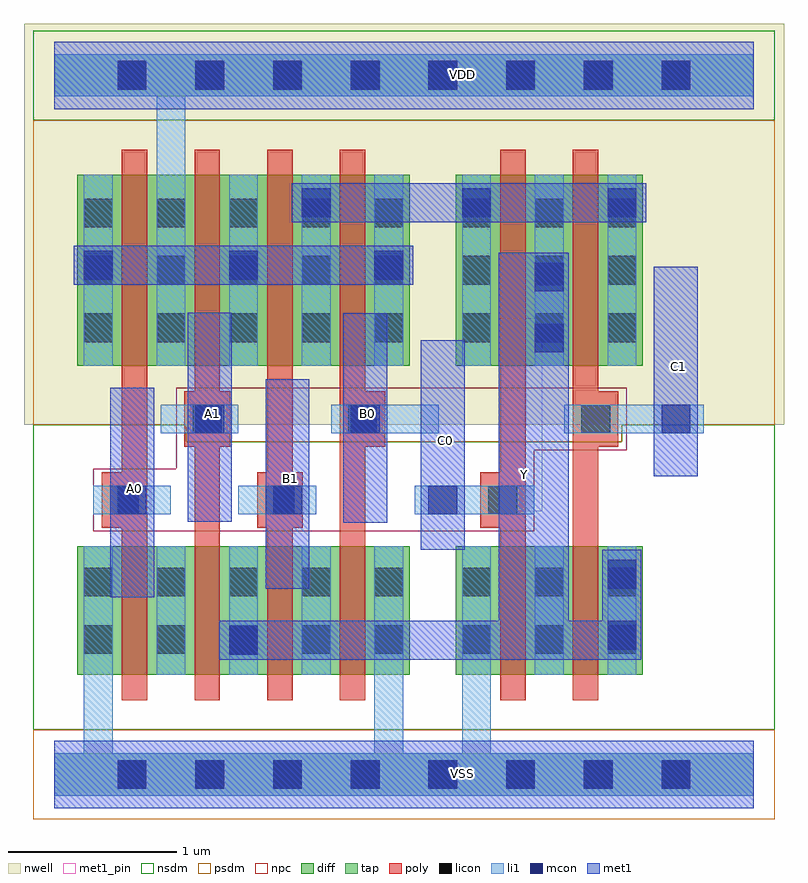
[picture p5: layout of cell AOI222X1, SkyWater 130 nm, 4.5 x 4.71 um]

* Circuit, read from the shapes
.subckt AOI222X1 A0 A1 B0 B1 C0 C1 VDD VSS Y
XM1 n1 A0 VSS VSS sky130_fd_pr__nfet_01v8 w=0.76 l=0.15
XM2 Y A1 n1 VSS sky130_fd_pr__nfet_01v8 w=0.76 l=0.15
XM3 n2 B1 Y VSS sky130_fd_pr__nfet_01v8 w=0.76 l=0.15
XM4 VSS B0 n2 VSS sky130_fd_pr__nfet_01v8 w=0.76 l=0.15
XM5 n3 C0 VSS VSS sky130_fd_pr__nfet_01v8 w=0.76 l=0.15
XM6 Y C1 n3 VSS sky130_fd_pr__nfet_01v8 w=0.76 l=0.15
XM7 VDD A0 n4 VDD sky130_fd_pr__pfet_01v8 w=1.13 l=0.15
XM8 n4 A1 VDD VDD sky130_fd_pr__pfet_01v8 w=1.13 l=0.15
XM9 n5 B1 n4 VDD sky130_fd_pr__pfet_01v8 w=1.13 l=0.15
XM10 n4 B0 n5 VDD sky130_fd_pr__pfet_01v8 w=1.13 l=0.15
XM11 Y C0 n5 VDD sky130_fd_pr__pfet_01v8 w=1.13 l=0.15
XM12 n5 C1 Y VDD sky130_fd_pr__pfet_01v8 w=1.13 l=0.15
.ends

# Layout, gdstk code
from math import pi, radians
import gdstk
lib = gdstk.Library(unit=1e-6, precision=1e-09)
def R(c, l, rs):  # rectangles x0, y0, x1, y1
    for r in rs: c.add(gdstk.rectangle(r[:2], r[2:], *l))
def A(c, l, x, y, w, h, nx, ny, dx, dy):  # array of equal rectangles
    R(c, l, [(x+i*dx, y+j*dy, x+i*dx+w, y+j*dy+h) for i in range(nx) for j in range(ny)])
def P(c, l, *ps):  # polygons
    for p in ps: c.add(gdstk.Polygon(p, *l))
nwell = (64, 20)
diff = (65, 20)
tap = (65, 44)
poly = (66, 20)
licon = (66, 44)
li1 = (67, 20)
mcon = (67, 44)
met1_pin = (68, 16)
met1 = (68, 20)
nsdm = (93, 44)
psdm = (94, 20)
npc = (95, 20)

nfet_01v8_cdns_716492285 = lib.new_cell('nfet_01v8_CDNS_71649228522221')
R(nfet_01v8_cdns_716492285, diff, [(-0.265,0,0,0.76), (0,0,0.15,0.76), (0.15,0,0.205,0.76)])
R(nfet_01v8_cdns_716492285, poly, [(0,-0.15,0.15,-0.095), (0,-0.095,0.15,0), (0,0,0.15,0.76), (0,0.76,0.15,0.855), (0,0.855,0.15,0.91)])
R(nfet_01v8_cdns_716492285, licon, [(-0.225,0.125,-0.055,0.295), (-0.225,0.465,-0.055,0.635)])
R(nfet_01v8_cdns_716492285, li1, [(-0.225,0,-0.055,0.76)])
R(nfet_01v8_cdns_716492285, nsdm, [(-0.405,-0.13,0.215,0.89)])

pfet_01v8_cdns_716492285 = lib.new_cell('pfet_01v8_CDNS_71649228522144')
R(pfet_01v8_cdns_716492285, nwell, [(-0.405,-0.18,0.385,1.31)])
R(pfet_01v8_cdns_716492285, diff, [(-0.225,0,0,1.13), (0,0,0.15,1.13), (0.15,0,0.205,1.13)])
R(pfet_01v8_cdns_716492285, poly, [(0,-0.15,0.15,-0.095), (0,-0.095,0.15,0), (0,0,0.15,1.13), (0,1.13,0.15,1.225), (0,1.225,0.15,1.28)])
A(pfet_01v8_cdns_716492285, licon, -0.225, 0.14, 0.17, 0.17, 1, 3, 0, 0.34)
R(pfet_01v8_cdns_716492285, li1, [(-0.225,0,-0.055,1.13)])
R(pfet_01v8_cdns_716492285, psdm, [(-0.235,-0.13,0.215,1.26)])

c_pfet_01v8_cdns_716492285 = lib.new_cell('pfet_01v8_CDNS_71649228522145')
R(c_pfet_01v8_cdns_716492285, nwell, [(-0.445,-0.18,0.385,1.31)])
R(c_pfet_01v8_cdns_716492285, diff, [(-0.265,0,0,1.13), (0,0,0.15,1.13), (0.15,0,0.205,1.13)])
R(c_pfet_01v8_cdns_716492285, poly, [(0,-0.15,0.15,-0.095), (0,-0.095,0.15,0), (0,0,0.15,1.13), (0,1.13,0.15,1.225), (0,1.225,0.15,1.28)])
A(c_pfet_01v8_cdns_716492285, licon, -0.225, 0.14, 0.17, 0.17, 1, 3, 0, 0.34)
R(c_pfet_01v8_cdns_716492285, li1, [(-0.225,0,-0.055,1.13)])
R(c_pfet_01v8_cdns_716492285, psdm, [(-0.405,-0.13,0.215,1.26)])

c_pfet_01v8_cdns_716492285_ = lib.new_cell('pfet_01v8_CDNS_71649228522223')
R(c_pfet_01v8_cdns_716492285_, nwell, [(-0.405,-0.18,0.385,1.31)])
R(c_pfet_01v8_cdns_716492285_, diff, [(-0.225,0,0,1.13), (0,0,0.15,1.13), (0.15,0,0.205,1.13)])
R(c_pfet_01v8_cdns_716492285_, poly, [(0,-0.15,0.15,-0.095), (0,-0.095,0.15,0), (0,0,0.15,1.13), (0,1.13,0.15,1.225), (0,1.225,0.15,1.28)])
A(c_pfet_01v8_cdns_716492285_, licon, -0.225, 0.14, 0.17, 0.17, 1, 3, 0, 0.34)
R(c_pfet_01v8_cdns_716492285_, li1, [(-0.225,0,-0.055,1.13)])
R(c_pfet_01v8_cdns_716492285_, psdm, [(-0.235,-0.13,0.215,1.26)])

c_pfet_01v8_cdns_716492285__ = lib.new_cell('pfet_01v8_CDNS_7164922852274')
R(c_pfet_01v8_cdns_716492285__, nwell, [(-0.445,-0.18,0.555,1.31)])
R(c_pfet_01v8_cdns_716492285__, diff, [(-0.265,0,0,1.13), (0,0,0.15,1.13), (0.15,0,0.375,1.13)])
R(c_pfet_01v8_cdns_716492285__, poly, [(0,-0.15,0.15,-0.095), (0,-0.095,0.15,0), (0,0,0.15,1.13), (0,1.13,0.15,1.225), (0,1.225,0.15,1.28)])
A(c_pfet_01v8_cdns_716492285__, licon, -0.225, 0.14, 0.17, 0.17, 1, 3, 0, 0.34)
A(c_pfet_01v8_cdns_716492285__, licon, 0.205, 0.14, 0.17, 0.17, 1, 3, 0, 0.34)
R(c_pfet_01v8_cdns_716492285__, li1, [(-0.225,0,-0.055,1.13), (0.205,0,0.375,1.13)])
R(c_pfet_01v8_cdns_716492285__, psdm, [(-0.405,-0.13,0.385,1.26)])

c_pfet_01v8_cdns_716492285___ = lib.new_cell('pfet_01v8_CDNS_716492285224')
R(c_pfet_01v8_cdns_716492285___, nwell, [(-0.235,-0.18,0.595,1.31)])
R(c_pfet_01v8_cdns_716492285___, diff, [(-0.055,0,0,1.13), (0,0,0.15,1.13), (0.15,0,0.415,1.13)])
R(c_pfet_01v8_cdns_716492285___, poly, [(0,-0.15,0.15,-0.095), (0,-0.095,0.15,0), (0,0,0.15,1.13), (0,1.13,0.15,1.225), (0,1.225,0.15,1.28)])
A(c_pfet_01v8_cdns_716492285___, licon, 0.205, 0.14, 0.17, 0.17, 1, 3, 0, 0.34)
R(c_pfet_01v8_cdns_716492285___, li1, [(0.205,0,0.375,1.13)])
R(c_pfet_01v8_cdns_716492285___, psdm, [(-0.065,-0.13,0.555,1.26)])

c_nfet_01v8_cdns_716492285 = lib.new_cell('nfet_01v8_CDNS_71649228522165')
R(c_nfet_01v8_cdns_716492285, diff, [(-0.265,0,0,0.76), (0,0,0.15,0.76), (0.15,0,0.375,0.76)])
R(c_nfet_01v8_cdns_716492285, poly, [(0,-0.15,0.15,-0.095), (0,-0.095,0.15,0), (0,0,0.15,0.76), (0,0.76,0.15,0.855), (0,0.855,0.15,0.91)])
R(c_nfet_01v8_cdns_716492285, licon, [(-0.225,0.125,-0.055,0.295), (-0.225,0.465,-0.055,0.635)])
R(c_nfet_01v8_cdns_716492285, li1, [(-0.225,0,-0.055,0.76)])
R(c_nfet_01v8_cdns_716492285, nsdm, [(-0.405,-0.13,0.385,0.89)])

c_nfet_01v8_cdns_716492285_ = lib.new_cell('nfet_01v8_CDNS_71649228522127')
R(c_nfet_01v8_cdns_716492285_, diff, [(-0.055,0,0,0.76), (0,0,0.15,0.76), (0.15,0,0.375,0.76)])
R(c_nfet_01v8_cdns_716492285_, poly, [(0,-0.15,0.15,-0.095), (0,-0.095,0.15,0), (0,0,0.15,0.76), (0,0.76,0.15,0.855), (0,0.855,0.15,0.91)])
R(c_nfet_01v8_cdns_716492285_, licon, [(0.205,0.125,0.375,0.295), (0.205,0.465,0.375,0.635)])
R(c_nfet_01v8_cdns_716492285_, li1, [(0.205,0,0.375,0.76)])
R(c_nfet_01v8_cdns_716492285_, nsdm, [(-0.065,-0.13,0.385,0.89)])

c_nfet_01v8_cdns_716492285__ = lib.new_cell('nfet_01v8_CDNS_71649228522220')
R(c_nfet_01v8_cdns_716492285__, diff, [(-0.225,0,0,0.76), (0,0,0.15,0.76), (0.15,0,0.205,0.76)])
R(c_nfet_01v8_cdns_716492285__, poly, [(0,-0.15,0.15,-0.095), (0,-0.095,0.15,0), (0,0,0.15,0.76), (0,0.76,0.15,0.855), (0,0.855,0.15,0.91)])
R(c_nfet_01v8_cdns_716492285__, nsdm, [(-0.235,-0.13,0.215,0.89)])

c_nfet_01v8_cdns_716492285___ = lib.new_cell('nfet_01v8_CDNS_71649228522224')
R(c_nfet_01v8_cdns_716492285___, diff, [(-0.225,0,0,0.76), (0,0,0.15,0.76), (0.15,0,0.415,0.76)])
R(c_nfet_01v8_cdns_716492285___, poly, [(0,-0.15,0.15,-0.095), (0,-0.095,0.15,0), (0,0,0.15,0.76), (0,0.76,0.15,0.855), (0,0.855,0.15,0.91)])
R(c_nfet_01v8_cdns_716492285___, licon, [(0.205,0.125,0.375,0.295), (0.205,0.465,0.375,0.635)])
R(c_nfet_01v8_cdns_716492285___, li1, [(0.205,0,0.375,0.76)])
R(c_nfet_01v8_cdns_716492285___, nsdm, [(-0.235,-0.13,0.555,0.89)])

l1m1_c_cdns_716492285225 = lib.new_cell('L1M1_C_CDNS_716492285225')
R(l1m1_c_cdns_716492285225, li1, [(-0.085,-0.345,0.085,0.345)])
R(l1m1_c_cdns_716492285225, mcon, [(-0.085,-0.265,0.085,-0.095), (-0.085,0.095,0.085,0.265)])
R(l1m1_c_cdns_716492285225, met1, [(-0.115,-0.325,0.115,0.325)])

l1m1_c_cdns_716492285226 = lib.new_cell('L1M1_C_CDNS_716492285226')
R(l1m1_c_cdns_716492285226, li1, [(-0.085,-0.165,0.085,0.165)])
R(l1m1_c_cdns_716492285226, mcon, [(-0.085,-0.085,0.085,0.085)])
R(l1m1_c_cdns_716492285226, met1, [(-0.145,-0.115,0.145,0.115)])

pyl1con_c_cdns_716492285 = lib.new_cell('PYL1CON_C_CDNS_716492285220')
R(pyl1con_c_cdns_716492285, poly, [(-0.135,-0.165,0.135,0.165)])
R(pyl1con_c_cdns_716492285, licon, [(-0.085,-0.085,0.085,0.085)])
R(pyl1con_c_cdns_716492285, npc, [(-0.185,-0.185,0.185,0.185)])

l1m1_c_cdns_716492285223 = lib.new_cell('L1M1_C_CDNS_716492285223')
R(l1m1_c_cdns_716492285223, li1, [(-0.165,-0.085,0.165,0.085)])
R(l1m1_c_cdns_716492285223, mcon, [(-0.085,-0.085,0.085,0.085)])
R(l1m1_c_cdns_716492285223, met1, [(-0.115,-0.145,0.115,0.145)])

l1m1_c_cdns_716492285224 = lib.new_cell('L1M1_C_CDNS_7164922852240')
R(l1m1_c_cdns_716492285224, li1, [(-0.085,-0.165,0.085,0.165)])
R(l1m1_c_cdns_716492285224, mcon, [(-0.085,-0.085,0.085,0.085)])
R(l1m1_c_cdns_716492285224, met1, [(-0.115,-0.085,0.115,0.085)])

aoi222x1 = lib.new_cell('AOI222X1')
R(aoi222x1, nwell, [(-0.18,2.07,4.32,4.305), (-0.18,3.875,4.32,4.445)])
A(aoi222x1, licon, 0.375, -0.085, 0.17, 0.17, 8, 2, 0.46, 4.14)
R(aoi222x1, licon, [(0.605,0.715,0.775,0.885), (1.465,0.715,1.635,0.885), (2.845,0.715,3.015,0.885), (0.605,1.055,0.775,1.225), (1.465,1.055,1.635,1.225), (2.845,1.055,3.015,1.225)])
R(aoi222x1, li1, [(0.605,0.59,0.775,1.35), (1.465,0.59,1.635,1.35), (2.845,0.59,3.015,1.35)])
A(aoi222x1, mcon, 0.375, -0.085, 0.17, 0.17, 8, 2, 0.46, 4.14)
R(aoi222x1, met1_pin, [(0.33,1.05,0.59,2.29), (1.25,1.1,1.51,2.34), (2.17,1.33,2.43,2.57), (1.71,1.49,1.97,2.73), (0.79,1.495,1.05,2.735), (2.63,1.56,2.89,2.7), (3.55,1.765,3.81,3.005)])
R(aoi222x1, met1, [(2.63,0.68,3.045,3.09)])
R(aoi222x1, nsdm, [(-0.125,3.875,4.265,4.405), (-0.125,3.93,4.265,4.35)])
P(aoi222x1, nsdm, [(4.265,2.07),(3.36,2.07),(3.36,1.97),(0.78,1.97),(0.78,2.07),(-0.125,2.07),(-0.125,0.265),(4.265,0.265)])
R(aoi222x1, psdm, [(-0.125,-0.265,4.265,0.265), (-0.125,-0.21,4.265,0.21)])
P(aoi222x1, psdm, [(4.265,3.875),(-0.125,3.875),(-0.125,2.07),(0.78,2.07),(0.78,1.97),(3.36,1.97),(3.36,2.07),(4.265,2.07)])
P(aoi222x1, npc, [(3.39,2.29),(0.72,2.29),(0.72,1.81),(0.23,1.81),(0.23,1.44),(2.84,1.44),(2.84,1.92),(3.39,1.92)])
aoi222x1.add(gdstk.FlexPath([(0.69,0),(2.47,0)], 0.25, ends=(0.085, 0.085), simple_path=True, layer=67, datatype=20))  # li1
aoi222x1.add(gdstk.FlexPath([(4.055,0),(4.14,0)], 0.25, ends=(0.085, 0), simple_path=True, layer=67, datatype=20))  # li1
aoi222x1.add(gdstk.FlexPath([(3.42,0),(4.055,0)], 0.25, ends=(0.085, 0.085), simple_path=True, layer=67, datatype=20))  # li1
aoi222x1.add(gdstk.FlexPath([(0,0),(0.69,0)], 0.25, ends=(0, 0.085), simple_path=True, layer=67, datatype=20))  # li1
aoi222x1.add(gdstk.FlexPath([(2.47,0),(3.42,0)], 0.25, ends=(0.085, 0.085), simple_path=True, layer=67, datatype=20))  # li1
aoi222x1.add(gdstk.FlexPath([(1.98,0.59),(1.98,0.005)], 0.17, ends="flush", simple_path=True, layer=67, datatype=20))  # li1
aoi222x1.add(gdstk.FlexPath([(0.26,0.59),(0.26,0.015)], 0.17, ends="flush", simple_path=True, layer=67, datatype=20))  # li1
aoi222x1.add(gdstk.FlexPath([(3.68,2.105),(3.48,2.105)], 0.17, ends="flush", simple_path=True, layer=67, datatype=20))  # li1
aoi222x1.add(gdstk.FlexPath([(3.48,2.105),(3.02,2.105)], 0.17, ends="flush", simple_path=True, layer=67, datatype=20))  # li1
aoi222x1.add(gdstk.FlexPath([(0.63,2.105),(1.09,2.105)], 0.17, ends="flush", simple_path=True, layer=67, datatype=20))  # li1
aoi222x1.add(gdstk.FlexPath([(2.275,2.105),(1.64,2.105)], 0.17, ends="flush", simple_path=True, layer=67, datatype=20))  # li1
aoi222x1.add(gdstk.FlexPath([(0.69,1.625),(0.23,1.625)], 0.17, ends="flush", simple_path=True, layer=67, datatype=20))  # li1
aoi222x1.add(gdstk.FlexPath([(2.38,1.625),(2.84,1.625)], 0.17, ends="flush", simple_path=True, layer=67, datatype=20))  # li1
aoi222x1.add(gdstk.FlexPath([(1.55,1.625),(1.09,1.625)], 0.17, ends="flush", simple_path=True, layer=67, datatype=20))  # li1
aoi222x1.add(gdstk.FlexPath([(2.5,0.59),(2.5,0)], 0.17, ends=(0, 0.085), simple_path=True, layer=67, datatype=20))  # li1
aoi222x1.add(gdstk.FlexPath([(2.5,0),(2.47,0)], 0.17, ends=(0.085, 0), simple_path=True, layer=67, datatype=20))  # li1
aoi222x1.add(gdstk.FlexPath([(0,4.14),(0.69,4.14)], 0.25, ends=(0, 0.085), simple_path=True, layer=67, datatype=20))  # li1
aoi222x1.add(gdstk.FlexPath([(2.47,4.14),(3.42,4.14)], 0.25, ends=(0.085, 0.085), simple_path=True, layer=67, datatype=20))  # li1
aoi222x1.add(gdstk.FlexPath([(3.42,4.14),(4.055,4.14)], 0.25, ends=(0.085, 0.085), simple_path=True, layer=67, datatype=20))  # li1
aoi222x1.add(gdstk.FlexPath([(4.055,4.14),(4.14,4.14)], 0.25, ends=(0.085, 0), simple_path=True, layer=67, datatype=20))  # li1
aoi222x1.add(gdstk.FlexPath([(0.69,4.14),(2.47,4.14)], 0.25, ends=(0.085, 0.085), simple_path=True, layer=67, datatype=20))  # li1
aoi222x1.add(gdstk.FlexPath([(0.69,3.55),(0.69,4.14)], 0.17, ends="flush", simple_path=True, layer=67, datatype=20))  # li1
aoi222x1.add(gdstk.FlexPath([(3.145,2.27),(3.145,1.5)], 0.15, ends="flush", simple_path=True, layer=66, datatype=20))  # poly
aoi222x1.add(gdstk.FlexPath([(2.715,2.27),(2.715,1.5)], 0.15, ends="flush", simple_path=True, layer=66, datatype=20))  # poly
aoi222x1.add(gdstk.FlexPath([(1.765,2.27),(1.765,1.5)], 0.15, ends="flush", simple_path=True, layer=66, datatype=20))  # poly
aoi222x1.add(gdstk.FlexPath([(1.335,2.27),(1.335,1.5)], 0.15, ends="flush", simple_path=True, layer=66, datatype=20))  # poly
aoi222x1.add(gdstk.FlexPath([(0.905,2.27),(0.905,1.5)], 0.15, ends="flush", simple_path=True, layer=66, datatype=20))  # poly
aoi222x1.add(gdstk.FlexPath([(0.475,2.27),(0.475,1.5)], 0.15, ends="flush", simple_path=True, layer=66, datatype=20))  # poly
aoi222x1.add(gdstk.FlexPath([(2.76,2.72),(2.76,0.825)], 0.26, ends=(0, 0.145), simple_path=True, layer=68, datatype=20))  # met1
aoi222x1.add(gdstk.FlexPath([(0,0),(4.14,0)], 0.4, ends="flush", simple_path=True, layer=68, datatype=20))  # met1
aoi222x1.add(gdstk.FlexPath([(3.68,3.005),(3.68,1.765)], 0.26, ends="flush", simple_path=True, layer=68, datatype=20))  # met1
aoi222x1.add(gdstk.FlexPath([(1.84,2.73),(1.84,1.49)], 0.26, ends="flush", simple_path=True, layer=68, datatype=20))  # met1
aoi222x1.add(gdstk.FlexPath([(2.3,2.57),(2.3,1.33)], 0.26, ends="flush", simple_path=True, layer=68, datatype=20))  # met1
aoi222x1.add(gdstk.FlexPath([(0.46,2.29),(0.46,1.05)], 0.26, ends="flush", simple_path=True, layer=68, datatype=20))  # met1
aoi222x1.add(gdstk.FlexPath([(1.38,2.34),(1.38,1.1)], 0.26, ends="flush", simple_path=True, layer=68, datatype=20))  # met1
aoi222x1.add(gdstk.FlexPath([(0.975,0.795),(3.36,0.795)], 0.23, ends=(0, 0.115), simple_path=True, layer=68, datatype=20))  # met1
aoi222x1.add(gdstk.FlexPath([(3.36,0.795),(3.36,1.005)], 0.23, ends=(0.115, 0), simple_path=True, layer=68, datatype=20))  # met1
aoi222x1.add(gdstk.FlexPath([(2.125,3.015),(0.26,3.015)], 0.23, ends="flush", simple_path=True, layer=68, datatype=20))  # met1
aoi222x1.add(gdstk.FlexPath([(3.36,3.385),(1.55,3.385)], 0.23, ends="flush", simple_path=True, layer=68, datatype=20))  # met1
aoi222x1.add(gdstk.FlexPath([(2.76,0.825),(2.76,0.7)], 0.26, ends=(0.145, 0), simple_path=True, layer=68, datatype=20))  # met1
aoi222x1.add(gdstk.FlexPath([(0.92,2.735),(0.92,1.495)], 0.26, ends="flush", simple_path=True, layer=68, datatype=20))  # met1
aoi222x1.add(gdstk.FlexPath([(0,4.14),(4.14,4.14)], 0.4, ends="flush", simple_path=True, layer=68, datatype=20))  # met1
aoi222x1.add(gdstk.FlexPath([(0,0),(4.14,0)], 0.25, ends="flush", simple_path=True, layer=65, datatype=44))  # tap
aoi222x1.add(gdstk.FlexPath([(0,4.14),(4.14,4.14)], 0.25, ends="flush", simple_path=True, layer=65, datatype=44))  # tap
aoi222x1.add(gdstk.FlexPath([(0,0),(4.14,0)], 0.4, ends="flush", simple_path=True, layer=68, datatype=16))  # met1_pin
aoi222x1.add(gdstk.FlexPath([(0,4.14),(4.14,4.14)], 0.4, ends="flush", simple_path=True, layer=68, datatype=16))  # met1_pin
aoi222x1.add(gdstk.Reference(nfet_01v8_cdns_716492285, (2.64,0.59)))
aoi222x1.add(gdstk.Reference(nfet_01v8_cdns_716492285, (1.84,0.59), rotation=pi, x_reflection=True))
aoi222x1.add(gdstk.Reference(pfet_01v8_cdns_716492285, (0.83,2.42)))
aoi222x1.add(gdstk.Reference(c_pfet_01v8_cdns_716492285, (3.22,2.42), rotation=pi, x_reflection=True))
aoi222x1.add(gdstk.Reference(c_pfet_01v8_cdns_716492285_, (1.26,2.42)))
aoi222x1.add(gdstk.Reference(c_pfet_01v8_cdns_716492285__, (2.64,2.42)))
aoi222x1.add(gdstk.Reference(c_pfet_01v8_cdns_716492285__, (1.84,2.42), rotation=pi, x_reflection=True))
aoi222x1.add(gdstk.Reference(c_pfet_01v8_cdns_716492285___, (0.55,2.42), rotation=pi, x_reflection=True))
aoi222x1.add(gdstk.Reference(c_nfet_01v8_cdns_716492285, (0.4,0.59)))
aoi222x1.add(gdstk.Reference(c_nfet_01v8_cdns_716492285_, (0.83,0.59)))
aoi222x1.add(gdstk.Reference(c_nfet_01v8_cdns_716492285__, (1.41,0.59), rotation=pi, x_reflection=True))
aoi222x1.add(gdstk.Reference(c_nfet_01v8_cdns_716492285___, (3.07,0.59)))
aoi222x1.add(gdstk.Reference(l1m1_c_cdns_716492285225, (3.36,1.005)))
aoi222x1.add(gdstk.Reference(l1m1_c_cdns_716492285225, (2.93,2.765)))
aoi222x1.add(gdstk.Reference(l1m1_c_cdns_716492285226, (1.98,3.015)))
aoi222x1.add(gdstk.Reference(l1m1_c_cdns_716492285226, (0.26,3.015)))
aoi222x1.add(gdstk.Reference(l1m1_c_cdns_716492285226, (1.12,3.015)))
aoi222x1.add(gdstk.Reference(l1m1_c_cdns_716492285226, (1.55,3.385)))
aoi222x1.add(gdstk.Reference(l1m1_c_cdns_716492285226, (2.5,3.385)))
aoi222x1.add(gdstk.Reference(l1m1_c_cdns_716492285226, (3.36,3.385)))
aoi222x1.add(gdstk.Reference(pyl1con_c_cdns_716492285, (0.905,2.105)))
aoi222x1.add(gdstk.Reference(pyl1con_c_cdns_716492285, (0.415,1.625)))
aoi222x1.add(gdstk.Reference(pyl1con_c_cdns_716492285, (1.335,1.625)))
aoi222x1.add(gdstk.Reference(pyl1con_c_cdns_716492285, (1.825,2.105)))
aoi222x1.add(gdstk.Reference(pyl1con_c_cdns_716492285, (2.655,1.625)))
aoi222x1.add(gdstk.Reference(pyl1con_c_cdns_716492285, (3.205,2.105)))
aoi222x1.add(gdstk.Reference(l1m1_c_cdns_716492285223, (3.68,2.105)))
aoi222x1.add(gdstk.Reference(l1m1_c_cdns_716492285223, (1.84,2.105)))
aoi222x1.add(gdstk.Reference(l1m1_c_cdns_716492285223, (0.92,2.105)))
aoi222x1.add(gdstk.Reference(l1m1_c_cdns_716492285223, (2.3,1.625)))
aoi222x1.add(gdstk.Reference(l1m1_c_cdns_716492285223, (1.38,1.625)))
aoi222x1.add(gdstk.Reference(l1m1_c_cdns_716492285223, (0.46,1.625)))
aoi222x1.add(gdstk.Reference(l1m1_c_cdns_716492285224, (1.12,0.795)))
aoi222x1.add(gdstk.Label('VDD', (2.415,4.145), layer=68, texttype=5))
aoi222x1.add(gdstk.Label('Y', (2.785,1.775), layer=68, texttype=5))
aoi222x1.add(gdstk.Label('C1', (3.695,2.415), layer=68, texttype=5))
aoi222x1.add(gdstk.Label('B0', (1.855,2.135), layer=68, texttype=5))
aoi222x1.add(gdstk.Label('B1', (1.395,1.75), layer=68, texttype=5))
aoi222x1.add(gdstk.Label('C0', (2.315,1.975), layer=68, texttype=5))
aoi222x1.add(gdstk.Label('A1', (0.935,2.14), layer=68, texttype=5))
aoi222x1.add(gdstk.Label('A0', (0.475,1.695), layer=68, texttype=5))
aoi222x1.add(gdstk.Label('VSS', (2.415,0.005), layer=68, texttype=5))

lib.write_gds('AOI222X1.gds')
